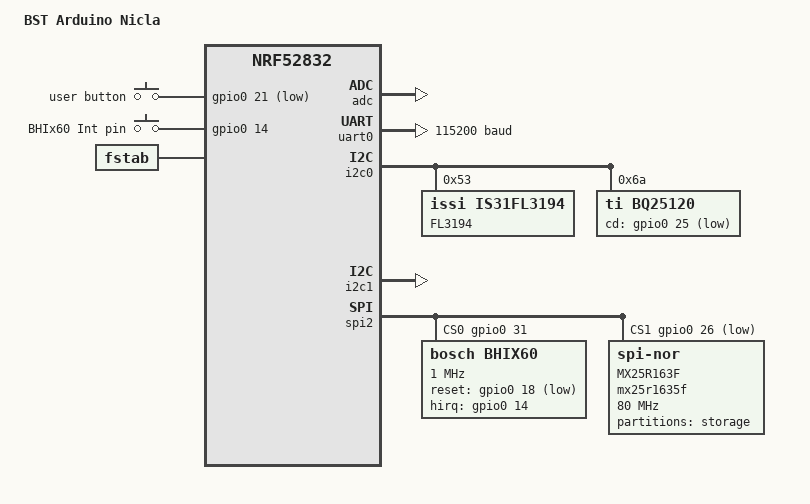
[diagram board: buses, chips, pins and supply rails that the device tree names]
/*
 * Copyright (c) 2023 Bosch Sensortec GmbH
 * DTS for Arduino Nicla Sense ME board pre-configured 
 * for Bosch Sensortec Drivers and COINES library
 * Derived from arduino_nicla_sense_me.dts by Benjamin Björnsson.
 *
 * SPDX-License-Identifier: Apache-2.0
 */

/dts-v1/;
#include <nordic/nrf52832_qfaa.dtsi>
#include "bst_arduino_nicla-pinctrl.dtsi"

/ {
	model = "BST Arduino Nicla";
	compatible = "arduino,bst_arduino_nicla";

	gpio_keys {
		compatible = "gpio-keys";
		user_button: button {
			label = "user button";
			gpios = <&gpio0 21 GPIO_ACTIVE_LOW>;
			status = "okay";
		};
	};

	chosen {
		zephyr,console = &uart0;
		zephyr,shell-uart = &uart0;
		zephyr,uart-mcumgr = &uart0;
		zephyr,bt-mon-uart = &uart0;
		zephyr,bt-c2h-uart = &uart0;
		zephyr,sram = &sram0;
		zephyr,flash = &flash0;
		zephyr,code-partition = &slot0_partition;
	};

	aliases {
		sw0 = &user_button;
		watchdog0 = &wdt0;
		spi-flash0 = &mx25r1635f;
	};

	/*Define "Wake-Up" GPIO pin for Power Management*/
	wup {
		compatible = "gpio-keys";
		wup0: wup_0 {
			gpios = <&gpio0 14 GPIO_ACTIVE_HIGH>;	/*Interrupt-OUT pin of BHI260*/
			label = "BHIx60 Int pin";
						status = "okay";
		};
	};
	
	/*littlefs partition on external spi flash mx25r1635f 16MB
	NOTE: the NICLA Reference manual incorrectly refers to this as MX231835 2MB
	The correct chip is in the NICLA schematics, as well as in the NICLA DTS*/
	fstab {
		compatible = "zephyr,fstab";
		lfs1: lfs1 {
			compatible = "zephyr,fstab,littlefs";
			mount-point = "/lfs1";
			partition = <&logging_partition>;
			automount;
			
			read-size = <16>;
			prog-size = <16>;
			cache-size = <64>;
			lookahead-size = <32>;
			block-cycles = <512>; 
			
		};
	};
	
};

&adc {
	status = "okay";
};

&gpiote {
	status = "okay";
};

&gpio0 {
	status = "okay";
};

uart_dev: &uart0 {
	compatible = "nordic,nrf-uarte";
	status = "okay";
	current-speed = <115200>;
	pinctrl-0 = <&uart0_default>;
	pinctrl-1 = <&uart0_sleep>;
	pinctrl-names = "default", "sleep";
};

/* I2C0 in datasheet */
/*I2C0 Pins are connected to LED+Battery Charger in NICLA schematic
   no correspondence with AB3 pins*/
&i2c0 {
	compatible = "nordic,nrf-twim";
	status = "okay";
	pinctrl-0 = <&i2c0_default>;
	pinctrl-1 = <&i2c0_sleep>;
	pinctrl-names = "default", "sleep";
	led_rgb: fl3194@53 {
		compatible = "issi,is31fl3194";
		reg = <0x53>;
		label = "FL3194";
	};
	bat_level: bq25120@6a {
		compatible = "ti,bq25120";
		status = "okay";
		reg = <0x6a>;
		label = "BQ25120";
		cd-gpios = <&gpio0 25 GPIO_ACTIVE_LOW>;
		/*settings for LP4030 3.7 V, 450mAH battery*/
		bat_reg_mv = <3700>;	//regulation voltage of battery in mv (3.6-4.65V)
		ilim_ma = <200>;		//Input current limit of device in mA. (50-400 mA)
		bat_uvlo_mv = <2750>;	//Battery under-voltage lockout in mV (2.2-3 V, Disable UVLO:0)
		icharge_ma = <200>; 	//Charging current in mA (5-300mA, Disable Charger:0)
		ipreterm_ua = <20000>;	//pre-charging current/terminating current in uA 
								//(500uA to 37000uA (37mA), Disable Termination:0)
								//This is charging current at start and end of charging, usually 10% of peak
	};

};

/* I2C1 in datasheet */
&i2c1 {
	compatible = "nordic,nrf-twim";
	/* Cannot be used together with spi1. */
	status = "okay";
	pinctrl-0 = <&i2c1_default>;
	pinctrl-1 = <&i2c1_sleep>;
	pinctrl-names = "default", "sleep";
};

/* SPI1 in datasheet */
&spi1 {
	compatible = "nordic,nrf-spim";
	/* Cannot be used together with i2c1. */
	/* status = "okay"; */
	pinctrl-0 = <&spi1_default>;
	pinctrl-1 = <&spi1_sleep>;
	pinctrl-names = "default", "sleep";
};

/* SPI0 in datasheet */
/* SPI2 module is used as shuttle_spi i.e. as main SPI connection to BHI260 and NOR Flash
 * because that is how it is defined in arduino_nicla_sense_me.dts
 * Note however that corresponding pins in the pinctrl dtsi are referred to as SPI0 
 in NICLA datasheet
 */
&spi2 {
	compatible = "nordic,nrf-spi";
	status = "okay";
	pinctrl-0 = <&spi2_default>;
	pinctrl-1 = <&spi2_sleep>;
	pinctrl-names = "default", "sleep";
	//0: CS of BHI260 1:CS of Flash
	cs-gpios = <&gpio0 31 GPIO_ACTIVE_HIGH>,<&gpio0 26 GPIO_ACTIVE_LOW>;
	
	 bhix60_dev: bhix60@0 {
		compatible = "bosch,bhix60";
		reg = <0>;
		spi-max-frequency = <1000000>;//<20000000>;
		label = "bhix60";
		status = "okay";
		reset-gpios = <&gpio0 18 GPIO_ACTIVE_LOW>;	//reset pin of BHI260
		hirq-gpios = <&gpio0 14 GPIO_ACTIVE_HIGH>;	//Interrupt-OUT pin of BHI260 
	};

	/delete-node/ mx25r1635f@0;
	
	mx25r1635f: mx25r1635f@1 {
		compatible = "jedec,spi-nor";
		reg = <1>;
		spi-max-frequency = <80000000>;
		label = "MX25R163F";
		jedec-id = [c2 28 15];
		size = <DT_SIZE_M(2*8)>;	//mx25r1635f size is 16Mbits (2 MBytes). Flash Size parameter is given in Mbits 
		has-dpd;
		t-enter-dpd = <10000>;
		t-exit-dpd = <35000>;
		status = "okay";
		partitions {
			compatible = "fixed-partitions";
			#address-cells = <1>;
			#size-cells = <1>;

			logging_partition: partition@0 {
				label = "storage";
				reg = <0x00000000 DT_SIZE_M(2)>;//2 Mbytes (sector size is given in MBytes, not Mbits as above)
			};
		};
	};
	
};

&flash0 {
	partitions {
		compatible = "fixed-partitions";
		#address-cells = <1>;
		#size-cells = <1>;

		boot_partition: partition@0 {
			label = "sam-ba";
			reg = <0x00000000 0x00010000>;
			read-only;
		};
		slot0_partition: partition@10000 {
			label = "image-0";
			reg = <0x00010000 0x30000>;
		};
		slot1_partition: partition@40000 {
			label = "image-1";
			reg = <0x00040000 0x30000>;
		};
		scratch_partition: partition@70000 {
			label = "image-scratch";
			reg = <0x00070000 0xa000>;
		};
		//Override the storage_partition in the arduino_nicla_sense_me.dts so that the
		//"storage" label can be applied to the SPI flash sector. This is
		//required for proper functioning of littlefs
		storage_partition: partition@7a000 {
			label = "storage2"; 
			reg = <0x0007a000 0x00006000>;
	};
};
